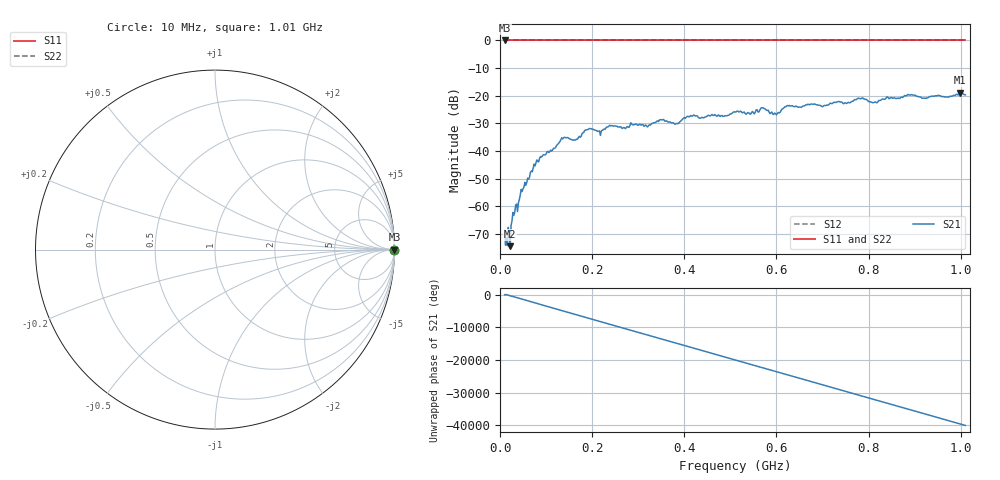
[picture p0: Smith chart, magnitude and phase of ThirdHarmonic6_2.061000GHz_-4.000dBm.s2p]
! 8/17/2025 12:41:42 AM
! C:\ANRITSUVNA\TEMP\TEMP.S2P
! CHANNEL.1
! TR.MEASUREMENT
! RAW.DATA
! RF.CORRECTION.OFF
! AVERAGING.OFF
! IF.BANDWIDTH: 5KHZ
! SWEEPTYPE:  FREQ.SWEEP(Linear)
! Reference Plane Port Info
! PORT:  PORT1  PORT2
! DISTANCE:  0  m  0  m
! TIME:  0  s  0  s
! PHASE.OFFSET:  0  deg.  0  deg.
! LOSS:  0  dB  0  dB
! REF.LOSS:  0  dB  0  dB
! REF.FREQ:  0  Hz  0  Hz
! Power Info
! POWER:  -20  dBm  -20  dBm
! EFF.POWER:  -20  dBm  -20  dBm
! SOURCE.ATTEN:  0  dB  0  dB
! TEST.ATTEN:  0  dB  0  dB
# GHZ S RI R 50.0
! FREQ.GHZ  S11RE  S11IM  S21RE  S21IM  S12RE  S12IM  S22RE  S22IM
!; PortSelection: Port_12
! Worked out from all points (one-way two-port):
!   501 points, 10 MHz to 1.01 GHz, reference 50 ohm
!   highest |S21| = -18.89 dB at 998 MHz (marker M1); lowest = -74.5 dB at 22 MHz (marker M2)
!   lowest |S11| = 0.0 dB at 10 MHz (marker M3)
!   |S11| at or under -10 dB: nowhere
!   |S22| runs from 0.0 to 0.0 dB; largest |S21 - S12| = 1.1
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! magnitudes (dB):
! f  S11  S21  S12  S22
! 10 MHz  0.0  -68.7  0.0  0.0
! 18 MHz  0.0  -67.7  0.0  0.0
! 22 MHz  0.0  -74.5  0.0  0.0
! 32 MHz  0.0  -62.2  0.0  0.0
! 50 MHz  0.0  -53.7  0.0  0.0
! 78 MHz  0.0  -44.3  0.0  0.0
! 136 MHz  0.0  -35.6  0.0  0.0
! 178 MHz  0.0  -33.7  0.0  0.0
! 194 MHz  0.0  -31.9  0.0  0.0
! 216 MHz  0.0  -32.8  0.0  0.0
! 240 MHz  0.0  -30.9  0.0  0.0
! 344 MHz  0.0  -29.4  0.0  0.0
! 384 MHz  0.0  -30.0  0.0  0.0
! 410 MHz  0.0  -27.7  0.0  0.0
! 510 MHz  0.0  -25.9  0.0  0.0
! 570 MHz  0.0  -24.3  0.0  0.0
! 596 MHz  0.0  -26.3  0.0  0.0
! 624 MHz  0.0  -23.6  0.0  0.0
! 678 MHz  0.0  -23.0  0.0  0.0
! 844 MHz  0.0  -21.1  0.0  0.0
! 998 MHz  0.0  -18.9  0.0  0.0
! 1.01 GHz  0.0  -19.7  0.0  0.0
